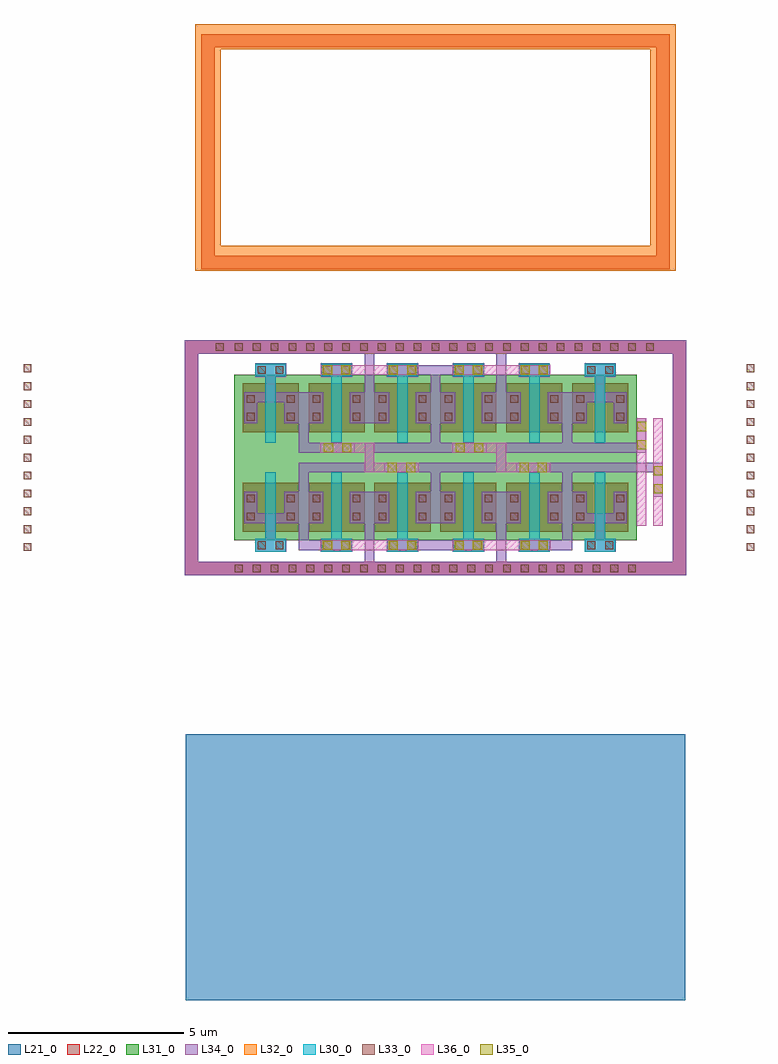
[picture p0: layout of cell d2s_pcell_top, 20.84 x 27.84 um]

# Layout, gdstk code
from math import pi, radians
import gdstk
lib = gdstk.Library(unit=1e-6, precision=5e-09)
def R(c, l, rs):  # rectangles x0, y0, x1, y1
    for r in rs: c.add(gdstk.rectangle(r[:2], r[2:], *l))
def A(c, l, x, y, w, h, nx, ny, dx, dy):  # array of equal rectangles
    R(c, l, [(x+i*dx, y+j*dy, x+i*dx+w, y+j*dy+h) for i in range(nx) for j in range(ny)])
L21_0 = (21, 0)
L22_0 = (22, 0)
L30_0 = (30, 0)
L31_0 = (31, 0)
L32_0 = (32, 0)
L33_0 = (33, 0)
L34_0 = (34, 0)
L35_0 = (35, 0)
L36_0 = (36, 0)

d2s_pcell_1_1 = lib.new_cell('d2s_pcell_1$1')
R(d2s_pcell_1_1, L22_0, [(0,0.3,0.46,1.7), (0.46,0.3,1.14,1.7), (1.14,0.3,1.6,1.7)])
R(d2s_pcell_1_1, L30_0, [(0.65,0,0.95,2)])
R(d2s_pcell_1_1, L33_0, [(0.12,0.635,0.34,0.855), (1.26,0.635,1.48,0.855), (0.12,1.145,0.34,1.365), (1.26,1.145,1.48,1.365)])
R(d2s_pcell_1_1, L34_0, [(0.04,0.555,0.42,1.445), (1.18,0.555,1.56,1.445)])

d2s_pcell_4 = lib.new_cell('d2s_pcell_4')
A(d2s_pcell_4, L30_0, 0.365, 1.9, 0.87, 0.36, 6, 1, 1.88, 0)
R(d2s_pcell_4, L33_0, [(0.435,1.97,0.655,2.19), (0.945,1.97,1.165,2.19), (2.315,1.97,2.535,2.19), (2.825,1.97,3.045,2.19), (4.195,1.97,4.415,2.19), (4.705,1.97,4.925,2.19), (6.075,1.97,6.295,2.19), (6.585,1.97,6.805,2.19), (7.955,1.97,8.175,2.19), (8.465,1.97,8.685,2.19), (9.835,1.97,10.055,2.19), (10.345,1.97,10.565,2.19)])
A(d2s_pcell_4, L34_0, 1.56, 0.555, 0.36, 0.89, 5, 1, 1.88, 0)
A(d2s_pcell_4, L34_0, 0.355, 1.89, 0.89, 0.38, 6, 1, 1.88, 0)
R(d2s_pcell_4, L35_0, [(2.29,1.95,2.55,2.21), (2.81,1.95,3.07,2.21), (4.17,1.95,4.43,2.21), (4.69,1.95,4.95,2.21), (6.05,1.95,6.31,2.21), (6.57,1.95,6.83,2.21), (7.93,1.95,8.19,2.21), (8.45,1.95,8.71,2.21)])
d2s_pcell_4.add(gdstk.FlexPath([(10.2,1.89),(10.2,1.445)], 0.28, ends="flush", simple_path=True, layer=34, datatype=0))  # L34_0
d2s_pcell_4.add(gdstk.FlexPath([(9.82,1.305),(10.58,1.305)], 0.28, ends="flush", simple_path=True, layer=34, datatype=0))  # L34_0
d2s_pcell_4.add(gdstk.FlexPath([(0.8,1.89),(0.8,1.445)], 0.28, ends="flush", simple_path=True, layer=34, datatype=0))  # L34_0
d2s_pcell_4.add(gdstk.FlexPath([(1.18,1.305),(0.42,1.305)], 0.28, ends="flush", simple_path=True, layer=34, datatype=0))  # L34_0
d2s_pcell_4.add(gdstk.FlexPath([(5.01,2.08),(2.23,2.08)], 0.28, ends="flush", simple_path=True, layer=36, datatype=0))  # L36_0
d2s_pcell_4.add(gdstk.FlexPath([(8.77,2.08),(5.99,2.08)], 0.28, ends="flush", simple_path=True, layer=36, datatype=0))  # L36_0
d2s_pcell_4.add(gdstk.Reference(d2s_pcell_1_1, (1.88,0)))
d2s_pcell_4.add(gdstk.Reference(d2s_pcell_1_1, (3.76,0)))
d2s_pcell_4.add(gdstk.Reference(d2s_pcell_1_1, (5.64,0)))
d2s_pcell_4.add(gdstk.Reference(d2s_pcell_1_1, (7.52,0)))
d2s_pcell_4.add(gdstk.Reference(d2s_pcell_1_1, (9.4,0)))
d2s_pcell_4.add(gdstk.Reference(d2s_pcell_1_1, (1.6,0), rotation=pi, x_reflection=True))

d2s_pcell_top = lib.new_cell('d2s_pcell_top')
R(d2s_pcell_top, L21_0, [(0,-11.68,14.24,-4.1)])
R(d2s_pcell_top, L31_0, [(1.38,1.43,12.86,6.15)])
A(d2s_pcell_top, L33_0, 1.4, 0.52, 0.22, 0.22, 23, 1, 0.51, 0)
A(d2s_pcell_top, L33_0, -4.625, 1.13, 0.22, 0.22, 1, 11, 0, 0.51)
A(d2s_pcell_top, L33_0, 15.995, 1.13, 0.22, 0.22, 1, 11, 0, 0.51)
A(d2s_pcell_top, L33_0, 1.4, 6.84, 0.22, 0.22, 24, 1, 0.51, 0)
R(d2s_pcell_top, L33_0, [(0.86,6.84,1.08,7.06)])
R(d2s_pcell_top, L35_0, [(13.34,2.77,13.6,3.03), (13.34,3.29,13.6,3.55), (5.76,3.38,6.02,3.64), (6.28,3.38,6.54,3.64), (9.52,3.38,9.78,3.64), (10.04,3.38,10.3,3.64), (3.94,3.94,4.2,4.2), (4.46,3.94,4.72,4.2), (7.7,3.94,7.96,4.2), (8.22,3.94,8.48,4.2), (12.87,4.03,13.13,4.29), (12.87,4.55,13.13,4.81)])
d2s_pcell_top.add(gdstk.FlexPath([(14.08,7.14),(14.08,0.63),(0.16,0.63),(0.16,6.95),(13.89,6.95)], 0.38, ends="flush", simple_path=True, layer=34, datatype=0))  # L34_0
d2s_pcell_top.add(gdstk.FlexPath([(13,3.93),(13,4.91)], 0.28, ends="flush", simple_path=True, layer=34, datatype=0))  # L34_0
d2s_pcell_top.add(gdstk.FlexPath([(11.02,3.51),(13.61,3.51)], 0.28, ends="flush", simple_path=True, layer=34, datatype=0))  # L34_0
d2s_pcell_top.add(gdstk.FlexPath([(13.47,2.67),(13.47,3.65)], 0.28, ends="flush", simple_path=True, layer=34, datatype=0))  # L34_0
d2s_pcell_top.add(gdstk.FlexPath([(10.88,4.765),(10.88,4.21)], 0.28, ends="flush", simple_path=True, layer=34, datatype=0))  # L34_0
d2s_pcell_top.add(gdstk.FlexPath([(7.12,4.765),(7.12,4.21)], 0.28, ends="flush", simple_path=True, layer=34, datatype=0))  # L34_0
d2s_pcell_top.add(gdstk.FlexPath([(3.36,4.765),(3.36,4.21)], 0.28, ends="flush", simple_path=True, layer=34, datatype=0))  # L34_0
d2s_pcell_top.add(gdstk.FlexPath([(6.64,4.07),(5.24,4.07),(5.24,3.51),(3.84,3.51)], 0.28, ends="flush", simple_path=True, layer=34, datatype=0))  # L34_0
d2s_pcell_top.add(gdstk.FlexPath([(4.82,4.07),(3.84,4.07)], 0.28, ends="flush", simple_path=True, layer=34, datatype=0))  # L34_0
d2s_pcell_top.add(gdstk.FlexPath([(6.64,3.51),(5.66,3.51)], 0.28, ends="flush", simple_path=True, layer=34, datatype=0))  # L34_0
d2s_pcell_top.add(gdstk.FlexPath([(6.64,4.07),(7.6,4.07)], 0.28, ends="flush", simple_path=True, layer=34, datatype=0))  # L34_0
d2s_pcell_top.add(gdstk.FlexPath([(6.64,3.51),(7.6,3.51)], 0.28, ends="flush", simple_path=True, layer=34, datatype=0))  # L34_0
d2s_pcell_top.add(gdstk.FlexPath([(3.84,4.07),(3.22,4.07)], 0.28, ends="flush", simple_path=True, layer=34, datatype=0))  # L34_0
d2s_pcell_top.add(gdstk.FlexPath([(3.84,3.51),(3.22,3.51)], 0.28, ends="flush", simple_path=True, layer=34, datatype=0))  # L34_0
d2s_pcell_top.add(gdstk.FlexPath([(7.12,4.765),(7.12,4.21)], 0.28, ends="flush", simple_path=True, layer=34, datatype=0))  # L34_0
d2s_pcell_top.add(gdstk.FlexPath([(10.4,4.07),(9,4.07),(9,3.51),(7.6,3.51)], 0.28, ends="flush", simple_path=True, layer=34, datatype=0))  # L34_0
d2s_pcell_top.add(gdstk.FlexPath([(7.12,5.655),(7.12,6.15)], 0.28, ends="flush", simple_path=True, layer=34, datatype=0))  # L34_0
d2s_pcell_top.add(gdstk.FlexPath([(10.385,1.29),(10.88,1.29),(10.88,1.925)], 0.28, ends="flush", simple_path=True, layer=34, datatype=0))  # L34_0
d2s_pcell_top.add(gdstk.FlexPath([(3.855,1.29),(3.36,1.29),(3.36,1.925)], 0.28, ends="flush", simple_path=True, layer=34, datatype=0))  # L34_0
d2s_pcell_top.add(gdstk.FlexPath([(8.58,4.07),(7.6,4.07)], 0.28, ends="flush", simple_path=True, layer=34, datatype=0))  # L34_0
d2s_pcell_top.add(gdstk.FlexPath([(10.4,3.51),(9.42,3.51)], 0.28, ends="flush", simple_path=True, layer=34, datatype=0))  # L34_0
d2s_pcell_top.add(gdstk.FlexPath([(11.02,4.07),(10.4,4.07)], 0.28, ends="flush", simple_path=True, layer=34, datatype=0))  # L34_0
d2s_pcell_top.add(gdstk.FlexPath([(11.02,3.51),(10.4,3.51)], 0.28, ends="flush", simple_path=True, layer=34, datatype=0))  # L34_0
d2s_pcell_top.add(gdstk.FlexPath([(10.88,3.37),(10.88,2.815)], 0.28, ends="flush", simple_path=True, layer=34, datatype=0))  # L34_0
d2s_pcell_top.add(gdstk.FlexPath([(7.12,3.37),(7.12,2.815)], 0.28, ends="flush", simple_path=True, layer=34, datatype=0))  # L34_0
d2s_pcell_top.add(gdstk.FlexPath([(3.36,3.37),(3.36,2.815)], 0.28, ends="flush", simple_path=True, layer=34, datatype=0))  # L34_0
d2s_pcell_top.add(gdstk.FlexPath([(7.12,3.37),(7.12,2.815)], 0.28, ends="flush", simple_path=True, layer=34, datatype=0))  # L34_0
d2s_pcell_top.add(gdstk.FlexPath([(7.615,6.29),(6.625,6.29)], 0.28, ends="flush", simple_path=True, layer=34, datatype=0))  # L34_0
d2s_pcell_top.add(gdstk.FlexPath([(7.615,1.29),(6.625,1.29)], 0.28, ends="flush", simple_path=True, layer=34, datatype=0))  # L34_0
d2s_pcell_top.add(gdstk.FlexPath([(5.24,1.925),(5.24,0.82)], 0.28, ends="flush", simple_path=True, layer=34, datatype=0))  # L34_0
d2s_pcell_top.add(gdstk.FlexPath([(9,1.925),(9,0.82)], 0.28, ends="flush", simple_path=True, layer=34, datatype=0))  # L34_0
d2s_pcell_top.add(gdstk.FlexPath([(5.24,6.76),(5.24,5.655)], 0.28, ends="flush", simple_path=True, layer=34, datatype=0))  # L34_0
d2s_pcell_top.add(gdstk.FlexPath([(9,6.76),(9,5.655)], 0.28, ends="flush", simple_path=True, layer=34, datatype=0))  # L34_0
d2s_pcell_top.add(gdstk.FlexPath([(11.02,4.07),(12.86,4.07)], 0.28, ends="flush", simple_path=True, layer=34, datatype=0))  # L34_0
d2s_pcell_top.add(gdstk.FlexPath([(13.61,15.87),(13.61,9.36),(0.63,9.36),(0.63,15.68),(13.42,15.68)], 0.38, ends="flush", simple_path=True, layer=22, datatype=0))  # L22_0
d2s_pcell_top.add(gdstk.FlexPath([(14.08,7.14),(14.08,0.63),(0.16,0.63),(0.16,6.95),(13.89,6.95)], 0.38, ends="flush", simple_path=True, layer=22, datatype=0))  # L22_0
d2s_pcell_top.add(gdstk.FlexPath([(13.47,4.91),(13.47,1.845)], 0.28, ends="flush", simple_path=True, layer=36, datatype=0))  # L36_0
d2s_pcell_top.add(gdstk.FlexPath([(13,4.91),(13,1.845)], 0.28, ends="flush", simple_path=True, layer=36, datatype=0))  # L36_0
d2s_pcell_top.add(gdstk.FlexPath([(10.4,3.51),(9,3.51),(9,4.07),(7.6,4.07)], 0.28, ends="flush", simple_path=True, layer=36, datatype=0))  # L36_0
d2s_pcell_top.add(gdstk.FlexPath([(6.64,3.51),(5.24,3.51),(5.24,4.07),(3.84,4.07)], 0.28, ends="flush", simple_path=True, layer=36, datatype=0))  # L36_0
d2s_pcell_top.add(gdstk.FlexPath([(13.61,16.16),(13.61,9.48),(0.63,9.48),(0.63,15.8),(13.97,15.8)], 0.72, ends="flush", simple_path=True, layer=32, datatype=0))  # L32_0
d2s_pcell_top.add(gdstk.Reference(d2s_pcell_4, (1.62,4.21)))
d2s_pcell_top.add(gdstk.Reference(d2s_pcell_4, (1.62,3.37), x_reflection=True))

lib.write_gds('d2s_pcell_top.gds')
